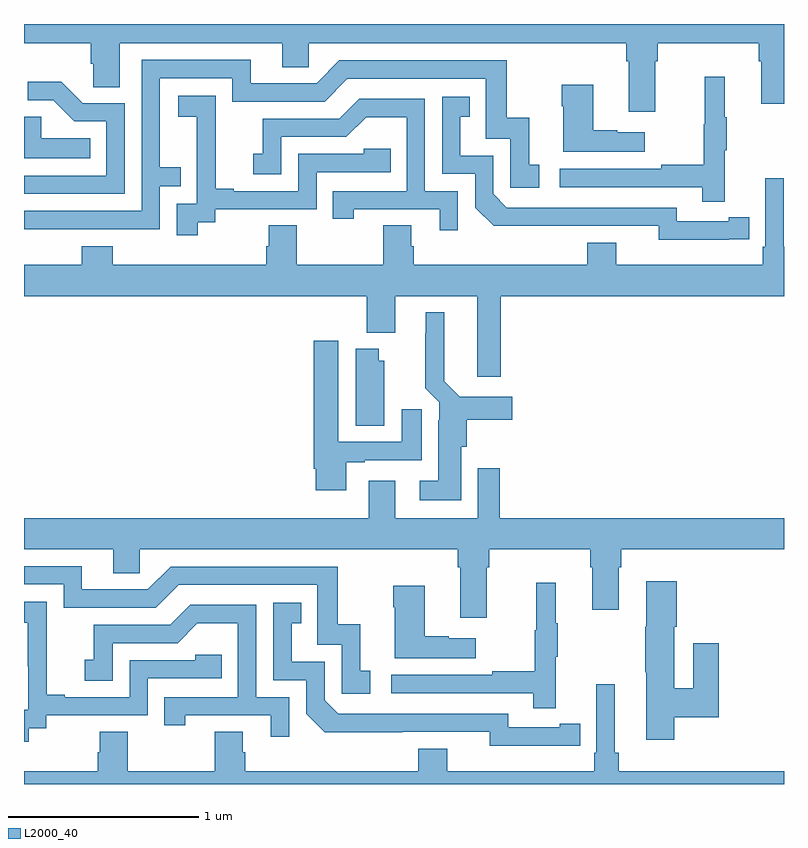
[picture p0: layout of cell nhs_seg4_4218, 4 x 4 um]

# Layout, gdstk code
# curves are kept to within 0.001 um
import gdstk
lib = gdstk.Library(unit=1e-6, precision=1e-09)
def P(c, l, *ps):  # polygons
    for p in ps: c.add(gdstk.Polygon(p, *l))
L2000_40 = (2000, 40)

nhs_seg4_4218 = lib.new_cell('nhs_seg4_4218')
P(nhs_seg4_4218, L2000_40, [(338.323,816.704),(338.336,816.704),(338.336,816.8),(338.867,816.8),(338.867,816.704),(338.879,816.704),(338.879,816.48),(339,816.48),(339,816.9),(335,816.9),(335,816.8),(335.351,816.8),(335.351,816.691),(335.364,816.691),(335.364,816.568),(335.503,816.568),(335.503,816.8),(336.359,816.8),(336.359,816.673),(336.498,816.673),(336.498,816.8),(338.171,816.8),(338.171,816.704),(338.183,816.704),(338.183,816.438),(338.323,816.438)],
  [(335.219,815.82),(335.715,815.82),(335.715,816.045),(335.825,816.045),(335.825,816.146),(335.715,816.146),(335.715,816.615),(336.096,816.615),(336.096,816.492),(336.582,816.492),(336.702,816.612),(337.431,816.612),(337.431,816.297),(337.56,816.297),(337.56,816.039),(337.711,816.039),(337.711,816.159),(337.658,816.159),(337.658,816.406),(337.54,816.406),(337.54,816.708),(336.66,816.708),(336.54,816.588),(336.193,816.588),(336.193,816.711),(335.619,816.711),(335.619,815.916),(335,815.916),(335,815.819)],
  [(338.687,816.235),(338.698,816.235),(338.698,816.409),(338.687,816.409),(338.687,816.622),(338.584,816.622),(338.584,816.372),(338.577,816.372),(338.577,816.158),(338.353,816.158),(338.353,816.138),(337.821,816.138),(337.821,816.042),(338.569,816.042),(338.569,815.964),(338.687,815.964)],
  [(335.529,816.483),(335.31,816.483),(335.197,816.596),(335.019,816.596),(335.019,816.498),(335.153,816.498),(335.264,816.387),(335.433,816.387),(335.433,816.102),(335,816.102),(335,816.006),(335.529,816.006)],
  [(338.266,816.331),(338.123,816.331),(338.123,816.341),(337.996,816.341),(337.996,816.58),(337.831,816.58),(337.831,816.467),(337.838,816.467),(337.838,816.227),(338.266,816.227)],
  [(335.914,815.857),(336.006,815.857),(336.006,815.925),(336.54,815.925),(336.54,816.12),(336.929,816.12),(336.929,816.243),(336.789,816.243),(336.789,816.216),(336.444,816.216),(336.444,816.021),(336.103,816.021),(336.103,816.034),(336.008,816.034),(336.008,816.317),(336.009,816.317),(336.009,816.523),(335.811,816.523),(335.811,816.413),(335.909,816.413),(335.909,816.185),(335.91,816.185),(335.91,815.955),(335.805,815.955),(335.805,815.787),(335.914,815.787)],
  [(338.708,815.766),(338.816,815.766),(338.816,815.882),(338.708,815.882),(338.708,815.862),(338.436,815.862),(338.436,815.934),(337.542,815.934),(337.47,816.006),(337.47,816.207),(337.297,816.207),(337.297,816.411),(337.346,816.411),(337.346,816.517),(337.2,816.517),(337.2,816.111),(337.374,816.111),(337.374,815.934),(337.472,815.837),(338.34,815.838),(338.34,815.765)],
  [(337.284,816.021),(337.11,816.021),(337.11,816.507),(336.764,816.507),(336.659,816.402),(336.256,816.402),(336.256,816.217),(336.207,816.217),(336.207,816.108),(336.354,816.108),(336.354,816.306),(336.696,816.306),(336.8,816.41),(337.014,816.41),(337.014,816.021),(336.625,816.021),(336.625,815.874),(336.736,815.874),(336.736,815.925),(337.187,815.925),(337.187,815.814),(337.284,815.814)],
  [(335.348,816.298),(335.091,816.298),(335.091,816.413),(335,816.413),(335,816.194),(335.348,816.194)],
  [(337.508,815.468),(339,815.468),(339,815.728),(338.998,815.728),(338.998,816.088),(338.901,816.088),(338.901,815.728),(338.888,815.728),(338.888,815.632),(338.116,815.632),(338.116,815.749),(337.964,815.749),(337.964,815.632),(337.052,815.632),(337.052,815.73),(337.039,815.73),(337.039,815.84),(336.892,815.84),(336.892,815.632),(336.435,815.632),(336.435,815.84),(336.287,815.84),(336.287,815.73),(336.275,815.73),(336.275,815.632),(335.468,815.632),(335.468,815.731),(335.303,815.731),(335.303,815.632),(335,815.632),(335,815.468),(336.803,815.468),(336.803,815.276),(336.955,815.276),(336.955,815.468),(337.385,815.468),(337.385,815.043),(337.508,815.043)],
  [(337.3,814.674),(337.331,814.674),(337.331,814.817),(337.57,814.817),(337.57,814.939),(337.293,814.939),(337.213,815.02),(337.213,815.383),(337.115,815.383),(337.115,815.273),(337.111,815.273),(337.111,814.982),(337.185,814.908),(337.185,814.814),(337.181,814.814),(337.181,814.495),(337.083,814.495),(337.083,814.394),(337.3,814.394)],
  [(336.697,814.593),(336.793,814.593),(336.793,814.605),(337.093,814.605),(337.093,814.873),(336.989,814.873),(336.989,814.701),(336.655,814.701),(336.655,815.233),(336.524,815.233),(336.524,814.558),(336.536,814.558),(336.536,814.446),(336.697,814.446)],
  [(336.895,815.127),(336.868,815.127),(336.868,815.191),(336.746,815.191),(336.746,814.786),(336.895,814.786)],
  [(337.435,814.04),(337.448,814.04),(337.448,814.136),(337.979,814.136),(337.979,814.04),(337.991,814.04),(337.991,813.816),(338.131,813.816),(338.131,814.04),(338.144,814.04),(338.144,814.136),(339,814.136),(339,814.3),(337.505,814.3),(337.505,814.561),(337.389,814.561),(337.389,814.3),(336.955,814.3),(336.955,814.495),(336.815,814.495),(336.815,814.3),(335,814.3),(335,814.136),(335.471,814.136),(335.471,814.009),(335.61,814.009),(335.61,814.136),(337.283,814.136),(337.283,814.04),(337.295,814.04),(337.295,813.774),(337.435,813.774)],
  [(336.823,813.495),(336.77,813.495),(336.77,813.742),(336.652,813.742),(336.652,814.044),(335.772,814.044),(335.652,813.924),(335.305,813.924),(335.305,814.047),(335,814.047),(335,813.951),(335.208,813.951),(335.208,813.828),(335.694,813.828),(335.814,813.948),(336.543,813.948),(336.543,813.633),(336.672,813.633),(336.672,813.375),(336.823,813.375)],
  [(338.422,813.251),(338.657,813.251),(338.657,813.64),(338.522,813.64),(338.522,813.404),(338.422,813.404),(338.422,813.727),(338.435,813.727),(338.435,813.967),(338.276,813.967),(338.276,813.728),(338.269,813.728),(338.269,813.487),(338.276,813.487),(338.276,813.132),(338.422,813.132)],
  [(337.799,813.571),(337.81,813.571),(337.81,813.745),(337.799,813.745),(337.799,813.958),(337.696,813.958),(337.696,813.708),(337.689,813.708),(337.689,813.494),(337.465,813.494),(337.465,813.474),(336.933,813.474),(336.933,813.378),(337.681,813.378),(337.681,813.3),(337.799,813.3)],
  [(337.378,813.667),(337.235,813.667),(337.235,813.677),(337.108,813.677),(337.108,813.943),(336.943,813.943),(336.943,813.83),(336.95,813.83),(336.95,813.563),(337.378,813.563)],
  [(335.026,813.193),(335.118,813.193),(335.118,813.261),(335.652,813.261),(335.652,813.456),(336.041,813.456),(336.041,813.579),(335.901,813.579),(335.901,813.552),(335.556,813.552),(335.556,813.357),(335.215,813.357),(335.215,813.37),(335.12,813.37),(335.12,813.653),(335.121,813.653),(335.121,813.859),(335,813.859),(335,813.749),(335.021,813.749),(335.021,813.521),(335.022,813.521),(335.022,813.291),(335,813.291),(335,813.123),(335.026,813.123)],
  [(337.82,813.102),(337.928,813.102),(337.928,813.218),(337.82,813.218),(337.82,813.198),(337.548,813.198),(337.548,813.27),(336.654,813.27),(336.582,813.342),(336.582,813.543),(336.409,813.543),(336.409,813.747),(336.458,813.747),(336.458,813.853),(336.312,813.853),(336.312,813.447),(336.486,813.447),(336.486,813.27),(336.584,813.173),(337.452,813.174),(337.452,813.101)],
  [(336.396,813.357),(336.222,813.357),(336.222,813.843),(335.876,813.843),(335.771,813.738),(335.368,813.738),(335.368,813.553),(335.319,813.553),(335.319,813.444),(335.466,813.444),(335.466,813.642),(335.808,813.642),(335.912,813.746),(336.126,813.746),(336.126,813.357),(335.737,813.357),(335.737,813.21),(335.848,813.21),(335.848,813.261),(336.299,813.261),(336.299,813.15),(336.396,813.15)],
  [(339,812.968),(338.129,812.968),(338.129,813.064),(338.11,813.064),(338.11,813.424),(338.013,813.424),(338.013,813.064),(338,813.064),(338,812.968),(337.228,812.968),(337.228,813.085),(337.076,813.085),(337.076,812.968),(336.164,812.968),(336.164,813.066),(336.151,813.066),(336.151,813.176),(336.004,813.176),(336.004,812.968),(335.547,812.968),(335.547,813.176),(335.399,813.176),(335.399,813.066),(335.387,813.066),(335.387,812.968),(335,812.968),(335,812.9),(339,812.9)])

lib.write_gds('nhs_seg4_4218.gds')
